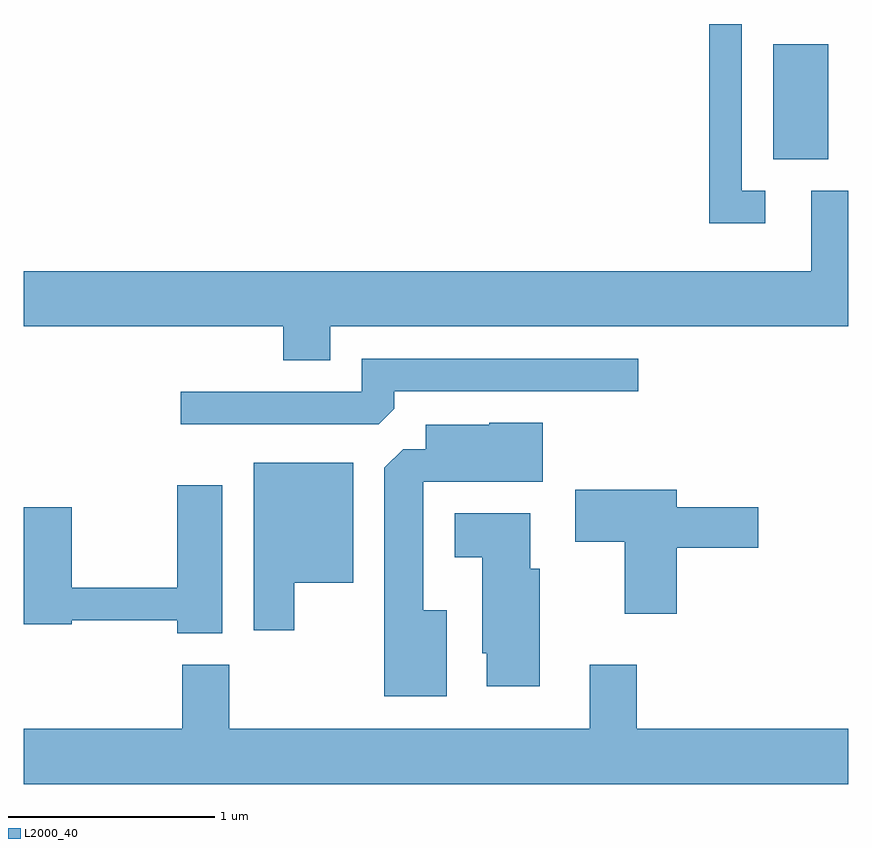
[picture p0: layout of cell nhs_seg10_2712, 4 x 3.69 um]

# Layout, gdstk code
import gdstk
lib = gdstk.Library(unit=1e-6, precision=1e-09)
def R(c, l, rs):  # rectangles x0, y0, x1, y1
    for r in rs: c.add(gdstk.rectangle(r[:2], r[2:], *l))
def P(c, l, *ps):  # polygons
    for p in ps: c.add(gdstk.Polygon(p, *l))
L2000_40 = (2000, 40)

nhs_seg10_2712 = lib.new_cell('nhs_seg10_2712')
R(nhs_seg10_2712, L2000_40, [(269.246,2085.866,269.514,2086.424)])
P(nhs_seg10_2712, L2000_40, [(269.208,2085.714),(269.094,2085.714),(269.094,2086.522),(268.936,2086.522),(268.936,2085.556),(269.208,2085.556)],
  [(267.099,2085.056),(269.611,2085.056),(269.611,2085.714),(269.431,2085.714),(269.431,2085.324),(265.611,2085.324),(265.611,2085.056),(266.871,2085.056),(266.871,2084.891),(267.099,2084.891)],
  [(267.409,2084.657),(267.409,2084.741),(268.593,2084.741),(268.593,2084.899),(267.251,2084.899),(267.251,2084.739),(266.373,2084.739),(266.373,2084.581),(267.334,2084.581)],
  [(267.664,2083.679),(267.549,2083.679),(267.549,2084.301),(268.129,2084.301),(268.129,2084.589),(267.87,2084.589),(267.87,2084.579),(267.561,2084.579),(267.561,2084.459),(267.452,2084.459),(267.361,2084.369),(267.361,2083.261),(267.664,2083.261)],
  [(266.924,2083.811),(267.209,2083.811),(267.209,2084.394),(266.726,2084.394),(266.726,2083.581),(266.924,2083.581)],
  [(266.574,2084.284),(266.356,2084.284),(266.356,2083.789),(265.844,2083.789),(265.844,2084.179),(265.611,2084.179),(265.611,2083.611),(265.844,2083.611),(265.844,2083.631),(266.356,2083.631),(266.356,2083.566),(266.574,2083.566)],
  [(268.779,2083.981),(269.174,2083.981),(269.174,2084.179),(268.779,2084.179),(268.779,2084.264),(268.286,2084.264),(268.286,2084.011),(268.526,2084.011),(268.526,2083.661),(268.779,2083.661)],
  [(268.114,2083.879),(268.069,2083.879),(268.069,2084.149),(267.701,2084.149),(267.701,2083.936),(267.836,2083.936),(267.836,2083.471),(267.856,2083.471),(267.856,2083.311),(268.114,2083.311)],
  [(269.611,2083.104),(268.584,2083.104),(268.584,2083.414),(268.356,2083.414),(268.356,2083.104),(266.609,2083.104),(266.609,2083.414),(266.381,2083.414),(266.381,2083.104),(265.611,2083.104),(265.611,2082.836),(269.611,2082.836)])

lib.write_gds('nhs_seg10_2712.gds')
